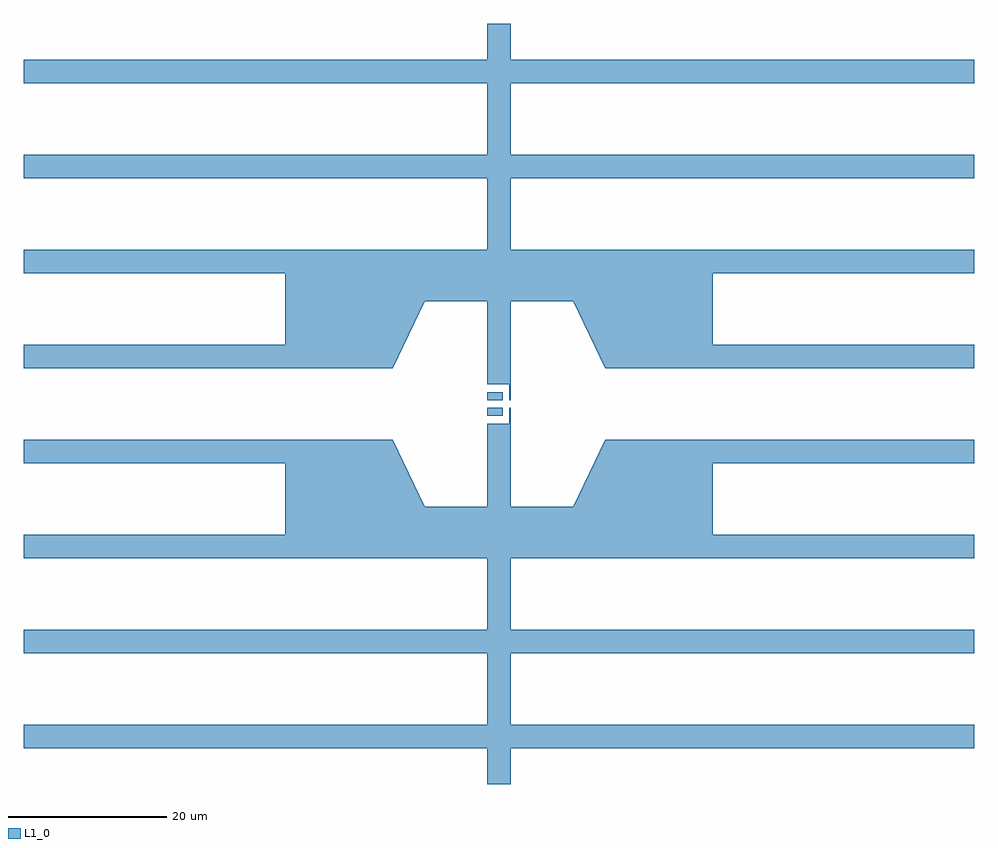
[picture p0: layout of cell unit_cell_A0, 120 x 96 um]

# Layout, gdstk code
from math import pi, radians
import gdstk
lib = gdstk.Library(unit=1e-6, precision=1e-09)
def R(c, l, rs):  # rectangles x0, y0, x1, y1
    for r in rs: c.add(gdstk.rectangle(r[:2], r[2:], *l))
def P(c, l, *ps):  # polygons
    for p in ps: c.add(gdstk.Polygon(p, *l))
L1_0 = (1, 0)

unnamed_957 = lib.new_cell('Unnamed_957')
P(unnamed_957, L1_0, [(58.5,0),(58.5,4.5),(0,4.5),(0,7.5),(58.5,7.5),(58.5,16.5),(0,16.5),(0,19.5),(58.5,19.5),(58.5,28.5),(0,28.5),(0,31.5),(33,31.5),(33,40.5),(0,40.5),(0,43.5),(46.597,43.5),(50.596,35),(58.5,35),(58.5,45.5),(60,45.5),(60,0)])

unnamed_958 = lib.new_cell('Unnamed_958')
unnamed_958.add(gdstk.Reference(unnamed_957, (0,0)))

rectangle_s2_1_lwg_cfal_ = lib.new_cell('rectangle_S2_1_LWG_CFal_a0a9c26d')
R(rectangle_s2_1_lwg_cfal_, L1_0, [(0,0,2,1)])

rectangle_s0p2_2_lwg_cf_ = lib.new_cell('rectangle_S0p2_2_LWG_CF_9ef6d549')
R(rectangle_s0p2_2_lwg_cf_, L1_0, [(0,0,0.2,2)])

unnamed_959 = lib.new_cell('Unnamed_959')
unnamed_959.add(gdstk.Reference(rectangle_s2_1_lwg_cfal_, (0,-1.5)))
unnamed_959.add(gdstk.Reference(rectangle_s0p2_2_lwg_cf_, (2.8,-2.5)))

unit_cell_a0 = lib.new_cell('unit_cell_A0')
unit_cell_a0.add(gdstk.Reference(unnamed_958, (0,0)))
unit_cell_a0.add(gdstk.Reference(unnamed_958, (120,0), rotation=pi, x_reflection=True))
unit_cell_a0.add(gdstk.Reference(unnamed_958, (0,96), x_reflection=True))
unit_cell_a0.add(gdstk.Reference(unnamed_958, (120,96), rotation=pi))
unit_cell_a0.add(gdstk.Reference(unnamed_959, (58.5,48)))
unit_cell_a0.add(gdstk.Reference(unnamed_959, (58.5,48), x_reflection=True))

lib.write_gds('unit_cell_A0.gds')
